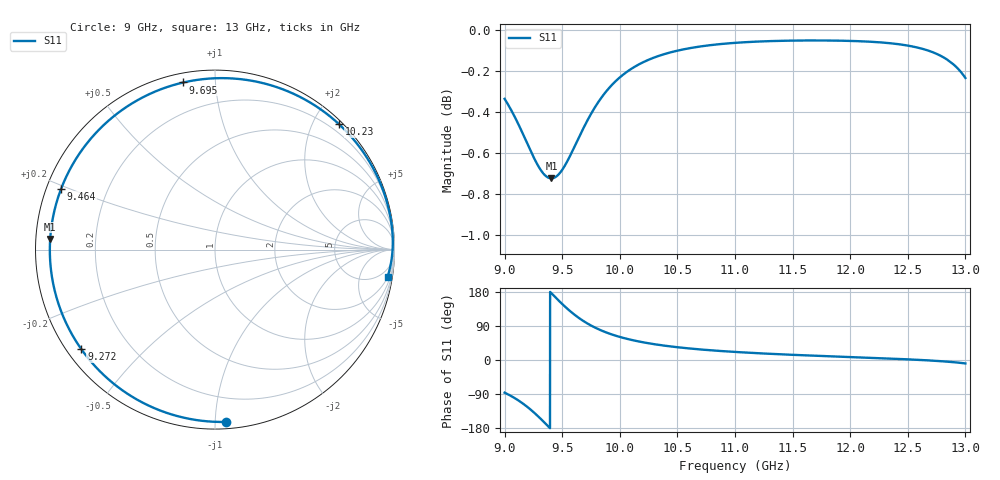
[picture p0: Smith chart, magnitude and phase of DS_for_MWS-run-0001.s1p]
! TOUCHSTONE file generated by CST DESIGN STUDIO
! Date and time: Tue Feb  4 17:53:59 2025
! Project name: C:\Work\MatlabApps\UnitCellOptimizationMatlab\CST\unitcell.cst
! Tree item: Tasks\Sweep1\SPara1\S-Parameters
! Header version: 2024
! Port assignment regex: !\s*Touchstone port\s*([0-9]+)\s*=\s*(CST MWS port|CST DES external port|CST DES block port)\s*(.+)\s* \(\"(.*)\"\)(\s*mode\s*([0-9]+))?.*
! Touchstone port assignment:
! Touchstone port 1 = CST DES external port 1 ("")
# GHz S MA R 50
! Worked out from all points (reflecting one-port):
!   4001 points, 9 GHz to 13 GHz, reference 50 ohm
!   lowest |S11| = -0.7 dB at 9.406 GHz (marker M1), VSWR 24.05, Z = 2.08 + j1.61 ohm
!   phase of S11 starts at -86 deg and turns -283 deg over the sweep
!   S11 on the Smith chart (normalised r, x): 9 GHz: 0.04, -1.07; 9.272 GHz: 0.04, -0.33; 9.464 GHz: 0.04, +0.19; 9.695 GHz: 0.05, +0.83; 10.23 GHz: 0.06, +2.40; 13 GHz: 2, -12
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9  0.962 -86.2
9.02  0.96 -89.2
9.081  0.9532 -99.4
9.149  0.9447 -112.8
9.211  0.9364 -127.2
9.272  0.9287 -143.3
9.342  0.9223 -163.9
9.406  0.9202 176.3
9.464  0.9219 158.4
9.5  0.9246 147.8
9.547  0.9293 134.6
9.594  0.935 122.6
9.643  0.9412 111.3
9.695  0.9477 100.8
9.762  0.9552 89.1
9.842  0.9628 77.6
9.918  0.9686 68.7
10  0.9736 60.9
10.107  0.9786 52.6
10.229  0.9827 45.2
10.5  0.9883 33.7
10.723  0.9909 27.2
11  0.9927 21.3
11.5  0.9939 13.7
12  0.9937 7.8
12.5  0.9911 1.7
12.785  0.9855 -3.1
13  0.9733 -9.1
